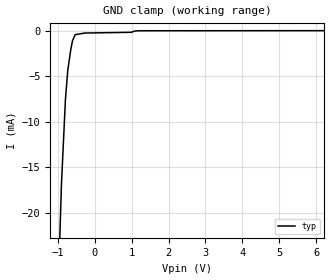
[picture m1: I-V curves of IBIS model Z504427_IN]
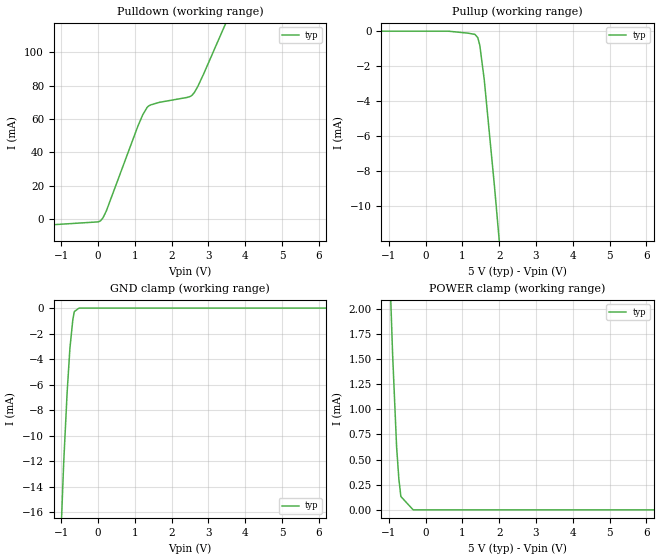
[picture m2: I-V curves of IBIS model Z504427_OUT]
| YOU ARE ONLY AUTHORIZED TO USE THIS SOFTWARE
| ACCORDING TO LICENSOR'S LICENSE RESTRICTIONS.
[IBIS Ver] 3.1
[File Name] sn54ls259j.ibs
[File Rev] 2.0
[Source] Measured and created by ICX Technology
[Date] Friday 7/14/00 9:08:14 AM
[Copyright]
| (C) COPYRIGHT 1993-2000
| MENTOR GRAPHICS CORPORATION
| ICX STANDARD LIBRARY, ICX PROJECT MODELING,
| ICX CUSTOM MODELING, ICX VENDOR MODEL
| ALL RIGHTS RESERVED.
| THE FOLLOWING ARE TRADEMARKS OR SERVICE MARKS OF
| MENTOR GRAPHICS CORPORATION:ICX (R), ICX STANDARD
| LIBRARY(R), ICX PROJECT MODELING(R), ICX CUSTOM
| MODELING(R), qualityIBIS(TM), MODELVIEWER(TM),
| AND MODELEDITOR(TM)
| ALL COPIES OF SOFTWARE, INCLUDING BUT NOT LIMITED TO
| ANY MODIFICATIONS, ENHANCEMENTS OR DERIVATIVE WORKS,
| MUST CONTAIN ALL MENTOR GRAPHICS CORPORATION'S
| NOTICES AND LEGENDS, INCLUDING THOSE EMBEDDED IN
| SOFTWARE AND THOSE AFFIXED TO SOFTWARE MEDIUM
| AND CONTAINER, AS RECEIVED FROM MENTOR GRAPHICS
| CORPORATION.
|  ZAP Model Builder 2.7
[Component] SN54LS259J
[Manufacturer] OnSemiconductor
[Package]
| variable   typ   min   max
R_pkg  .212ohms NA NA
L_pkg  4.758nH NA NA
C_pkg  1.944pF NA NA
[Pin] signal_name  model_name  R_pin  L_pin C_pin
1 S0 Z504427_IN .224 7.258n 2.683p
2 S1 Z504427_IN .216 5.258n 2.19p
3 S2 Z504427_IN .208 3.758n 1.697p
4 Q0 Z504427_OUT .2 2.758n 1.204p
5 Q1 Z504427_OUT .2 2.758n 1.204p
6 Q2 Z504427_OUT .208 3.758n 1.697p
7 Q3 Z504427_OUT .216 5.258n 2.19p
8 GND GND .224 7.258n 2.683p
9 Q4 Z504427_OUT .224 7.258n 2.683p
10 Q5 Z504427_OUT .216 5.258n 2.19p
11 Q6 Z504427_OUT .208 3.758n 1.697p
12 Q7 Z504427_OUT .2 2.758n 1.204p
13 D Z504427_IN .2 2.758n 1.204p
14 _G Z504427_IN .208 3.758n 1.697p
15 _CLR Z504427_IN .216 5.258n 2.19p
16 VCC POWER .224 7.258n 2.683p
| Models and submodels in the file (2): Z504427_IN (Input), Z504427_OUT (Output)
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| (C) COPYRIGHT 1993-2000
| MENTOR GRAPHICS CORPORATION
| ICX STANDARD LIBRARY, ICX PROJECT MODELING,
| ICX CUSTOM MODELING, ICX VENDOR MODEL
| ALL RIGHTS RESERVED.
| THE FOLLOWING ARE TRADEMARKS OR SERVICE MARKS OF
| MENTOR GRAPHICS CORPORATION:ICX (R), ICX STANDARD
| LIBRARY(R), ICX PROJECT MODELING(R), ICX CUSTOM
| MODELING(R), qualityIBIS(TM), MODELVIEWER(TM),
| AND MODELEDITOR(TM)
| ALL COPIES OF SOFTWARE, INCLUDING BUT NOT LIMITED TO
| ANY MODIFICATIONS, ENHANCEMENTS OR DERIVATIVE WORKS,
| MUST CONTAIN ALL MENTOR GRAPHICS CORPORATION'S
| NOTICES AND LEGENDS, INCLUDING THOSE EMBEDDED IN
| SOFTWARE AND THOSE AFFIXED TO SOFTWARE MEDIUM
| AND CONTAINER, AS RECEIVED FROM MENTOR GRAPHICS
| CORPORATION.
| Model Application Version 1.89 2/18/99.
[Model] Z504427_IN
Model_type Input
Vinl = 800.0mV
Vinh = 2.000V
C_comp 4.000pF NA NA
| variable typ   min   max
[Voltage Range] 5.000V NA NA
[GND Clamp Reference] 0.000V NA NA
[POWER Clamp Reference] 5.000V NA NA
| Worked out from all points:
|   GND clamp passes 1 mA (typ) near -0.59 V on its own axis
[GND Clamp]
-5V       -564.1mA   NA         NA
-897.9mV  -16.88mA   NA         NA
-790.4mV  -7.595mA   NA         NA
-726.7mV  -4.362mA   NA         NA
-645.1mV  -2.063mA   NA         NA
-598.3mV  -1.105mA   NA         NA
-527.3mV  -434uA     NA         NA
-263.7mV  -252.5uA   NA         NA
990.4mV   -173.4uA   NA         NA
1.085V    -39.36uA   NA         NA
1.187V    -3.183uA   NA         NA
10V       17.02uA    NA         NA
[POWER Clamp]
-5V       0A         NA         NA
10V       0A         NA         NA
| (C) COPYRIGHT 1993-2000
| MENTOR GRAPHICS CORPORATION
| ICX STANDARD LIBRARY, ICX PROJECT MODELING,
| ICX CUSTOM MODELING, ICX VENDOR MODEL
| ALL RIGHTS RESERVED.
| THE FOLLOWING ARE TRADEMARKS OR SERVICE MARKS OF
| MENTOR GRAPHICS CORPORATION:ICX (R), ICX STANDARD
| LIBRARY(R), ICX PROJECT MODELING(R), ICX CUSTOM
| MODELING(R), qualityIBIS(TM), MODELVIEWER(TM),
| AND MODELEDITOR(TM)
| ALL COPIES OF SOFTWARE, INCLUDING BUT NOT LIMITED TO
| ANY MODIFICATIONS, ENHANCEMENTS OR DERIVATIVE WORKS,
| MUST CONTAIN ALL MENTOR GRAPHICS CORPORATION'S
| NOTICES AND LEGENDS, INCLUDING THOSE EMBEDDED IN
| SOFTWARE AND THOSE AFFIXED TO SOFTWARE MEDIUM
| AND CONTAINER, AS RECEIVED FROM MENTOR GRAPHICS
| CORPORATION.
| Model Application Version 1.89 2/18/99.
[Model] Z504427_OUT
Model_type Output
Vref=5.000V
Rref=2.000kohms
Cref=15.00pF
Vmeas=1.300V
C_comp 8.000pF NA NA
| variable typ   min   max
[Voltage Range] 5.000V NA NA
[POWER Clamp Reference] 5.000V NA NA
[Pullup Reference] 5.000V NA NA
[Pulldown Reference] 0.000V NA NA
[GND Clamp Reference] 0.000V NA NA
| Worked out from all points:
|   slope of the pulldown table from 0 to 0.75 V, typ, clamps not added: 20 ohm
|   slope of the pullup table from 0 to 0.75 V, typ, clamps not added: 28.4 kohm
|   GND clamp passes 1 mA (typ) near -0.69 V on its own axis
|   POWER clamp passes 1 mA (typ) near -0.83 V on its own axis
[GND Clamp]
-5V       -406.8mA   NA         NA
-1.118V   -26.21mA   NA         NA
-932.6mV  -12.16mA   NA         NA
-838mV    -6.572mA   NA         NA
-762.3mV  -3.128mA   NA         NA
-683.6mV  -908.1uA   NA         NA
-644.5mV  -281.4uA   NA         NA
-515.6mV  0A         NA         NA
10V       0A         NA         NA
[Pulldown]
-5V       -8.427mA   NA         NA
9.842mV   -1.47mA    NA         NA
131.4mV   783.1uA    NA         NA
224.6mV   4.933mA    NA         NA
1.084V    55.78mA    NA         NA
1.216V    62.52mA    NA         NA
1.333V    66.92mA    NA         NA
1.665V    69.96mA    NA         NA
2.52V     73.65mA    NA         NA
2.62V     75.95mA    NA         NA
2.866V    86.77mA    NA         NA
10V       446.3mA    NA         NA
[Pullup]
-5V       14.26uA    NA         NA
625mV     14.26uA    NA         NA
1.145V    -95.65uA   NA         NA
1.343V    -167.3uA   NA         NA
1.42V     -355.7uA   NA         NA
1.475V    -791.4uA   NA         NA
1.596V    -2.76mA    NA         NA
1.874V    -8.859mA   NA         NA
10V       -203.6mA   NA         NA
[POWER Clamp]
-5V       51.42mA    NA         NA
-1.021V   2.917mA    NA         NA
-893mV    1.544mA    NA         NA
-785mV    626.7uA    NA         NA
-724mV    308.4uA    NA         NA
-669mV    132.5uA    NA         NA
-334.5mV  0A         NA         NA
10V       0A         NA         NA
[Ramp]
| variable typ min max
dV/dt_r 1.885/7.864n NA NA
dV/dt_f 1.885/2.198n NA NA
R_load = 500.0Ohms
